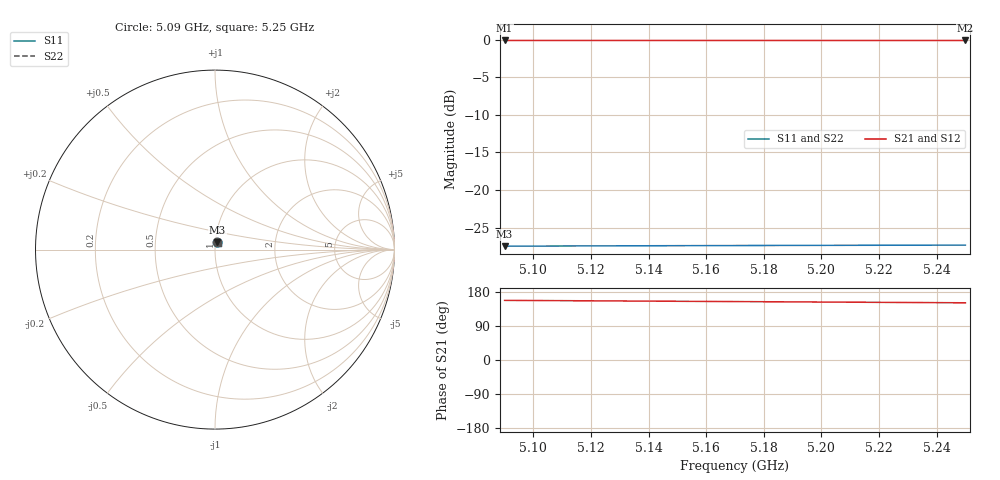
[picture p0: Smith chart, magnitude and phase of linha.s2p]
! Touchstone file exported from HFSS 2024.2.0
!  File:  D:/dev/EMBRAER/P1H/R03_Estudo/ZYF300CA-P/cupom_20/Linha_ZYF300CA_P_20.aedt
!  Generated:  10:34:57 PM Nov  6, 2026
!  Design:  Linha
!  Project:  Linha_ZYF300CA_P_20
!  Setup:  Perda
!  Solution:  Banda
# GHz S RI R 50.000000
! Terminal data exported
! Port[1] = E
! Port[2] = S
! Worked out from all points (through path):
!   17 points, 5.09 GHz to 5.25 GHz, reference 50 ohm
!   highest |S21| = -0.11 dB at 5.09 GHz (marker M1); lowest = -0.1 dB at 5.25 GHz (marker M2)
!   group delay of S21, straight-line fit = 111 ps
!   lowest |S11| = -27.5 dB at 5.09 GHz (marker M3), VSWR 1.09, Z = 51.1 + j4.14 ohm
!   |S11| at or under -10 dB: start of sweep to end of sweep
!   |S22| runs from -27.5 to -27.4 dB; largest |S21 - S12| = 1e-15
5.09  0.0121 0.0405  -0.9108 0.3799  -0.9108 0.3799  0.0134 0.04
! Gamma 0 0 0 0
! Port Impedance 50 0 50 0
5.1  0.0124 0.0404  -0.9081 0.3862  -0.9081 0.3862  0.0137 0.04
5.11  0.0127 0.0404  -0.9054 0.3926  -0.9054 0.3926  0.014 0.0399
5.12  0.013 0.0404  -0.9026 0.3989  -0.9026 0.3989  0.0143 0.0399
5.13  0.0133 0.0403  -0.8997 0.4052  -0.8997 0.4052  0.0146 0.0398
5.14  0.0136 0.0403  -0.8968 0.4114  -0.8968 0.4114  0.0148 0.0398
5.15  0.0139 0.0402  -0.8939 0.4177  -0.8939 0.4177  0.0151 0.0397
5.16  0.0142 0.0402  -0.8909 0.4239  -0.8909 0.4239  0.0154 0.0397
5.17  0.0145 0.0401  -0.8879 0.4301  -0.8879 0.4301  0.0157 0.0396
5.18  0.0148 0.0401  -0.8849 0.4363  -0.8849 0.4363  0.016 0.0395
5.19  0.0151 0.04  -0.8818 0.4424  -0.8818 0.4424  0.0163 0.0395
5.2  0.0154 0.0399  -0.8786 0.4486  -0.8786 0.4486  0.0166 0.0394
5.21  0.0157 0.0399  -0.8755 0.4547  -0.8755 0.4547  0.0168 0.0393
5.22  0.0159 0.0398  -0.8722 0.4608  -0.8722 0.4608  0.0171 0.0392
5.23  0.0162 0.0397  -0.869 0.4669  -0.869 0.4669  0.0174 0.0391
5.24  0.0165 0.0396  -0.8657 0.4729  -0.8657 0.4729  0.0177 0.039
5.25  0.0168 0.0395  -0.8623 0.4789  -0.8623 0.4789  0.018 0.0389
